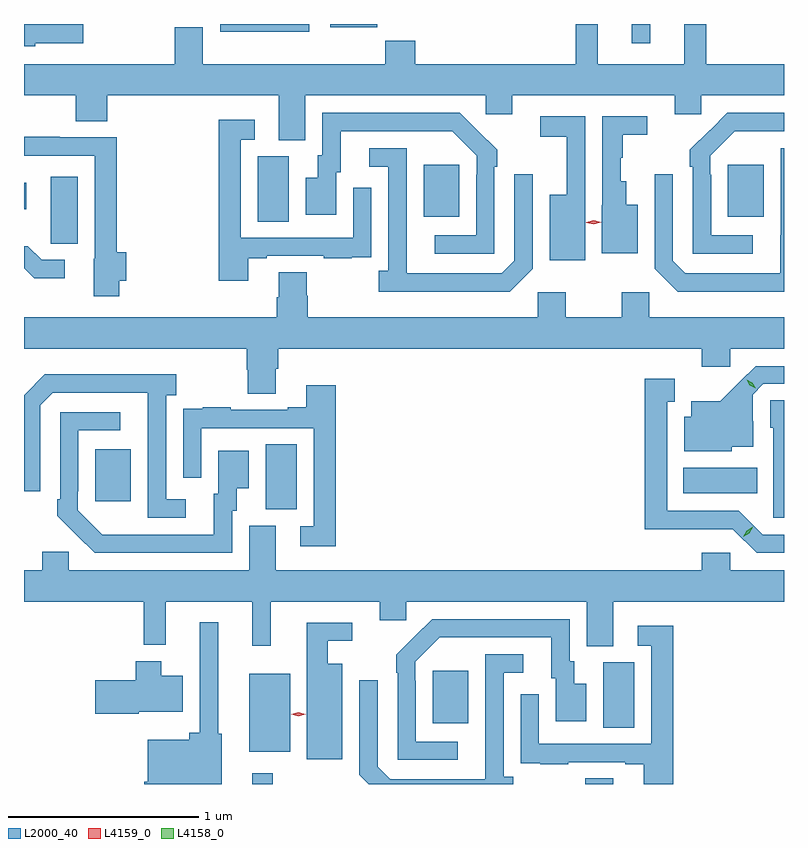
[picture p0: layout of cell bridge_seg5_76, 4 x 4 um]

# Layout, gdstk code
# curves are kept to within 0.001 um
import gdstk
lib = gdstk.Library(unit=1e-6, precision=1e-09)
def R(c, l, rs):  # rectangles x0, y0, x1, y1
    for r in rs: c.add(gdstk.rectangle(r[:2], r[2:], *l))
def P(c, l, *ps):  # polygons
    for p in ps: c.add(gdstk.Polygon(p, *l))
L2000_40 = (2000, 40)
L4158_0 = (4158, 0)
L4159_0 = (4159, 0)

bridge_seg5_76 = lib.new_cell('bridge_seg5_76')
R(bridge_seg5_76, L2000_40, [(134.21,906.416,134.32,906.472), (135.964,906.416,136.111,906.446), (134.195,906.587,134.41,906.997), (136.058,906.712,136.222,907.056), (135.161,906.737,135.349,907.012), (134.282,907.861,134.446,908.204), (133.385,907.905,133.573,908.179), (136.481,907.946,136.868,908.08), (134.24,909.376,134.404,909.72), (135.113,909.401,135.301,909.676), (136.715,909.401,136.903,909.676), (133.01,909.44,133.021,909.58), (136.208,910.314,136.305,910.416), (134.042,910.376,134.512,910.416), (134.621,910.398,134.87,910.416)])
P(bridge_seg5_76, L2000_40, [(134.491,910.04),(135.441,910.04),(135.441,909.942),(135.58,909.942),(135.58,910.04),(136.436,910.04),(136.436,909.942),(136.575,909.942),(136.575,910.04),(137.01,910.04),(137.01,910.204),(136.601,910.204),(136.601,910.416),(136.484,910.416),(136.484,910.204),(136.031,910.204),(136.031,910.416),(135.913,910.416),(135.913,910.204),(135.068,910.204),(135.068,910.328),(134.911,910.328),(134.911,910.204),(133.951,910.204),(133.951,910.399),(133.804,910.399),(133.804,910.204),(133.01,910.204),(133.01,910.04),(133.283,910.04),(133.283,909.904),(133.448,909.904),(133.448,910.04),(134.351,910.04),(134.351,909.805),(134.491,909.805)],
  [(133.068,910.316),(133.321,910.316),(133.321,910.416),(133.01,910.416),(133.01,910.298),(133.068,910.298)],
  [(136.846,909.303),(136.626,909.303),(136.626,909.623),(136.623,909.623),(136.623,909.723),(136.752,909.852),(137.01,909.852),(137.01,909.948),(136.712,909.948),(136.515,909.753),(136.515,909.665),(136.53,909.665),(136.53,909.207),(136.846,909.207)],
  [(135.486,909.665),(135.501,909.665),(135.501,909.753),(135.304,909.948),(134.58,909.948),(134.58,909.726),(134.555,909.726),(134.555,909.607),(134.492,909.607),(134.492,909.411),(134.653,909.411),(134.653,909.636),(134.677,909.636),(134.677,909.852),(135.265,909.852),(135.393,909.723),(135.393,909.623),(135.39,909.623),(135.39,909.303),(135.171,909.303),(135.171,909.207),(135.486,909.207)],
  [(135.964,909.413),(135.963,909.413),(135.963,909.93),(135.726,909.93),(135.726,909.822),(135.866,909.822),(135.866,909.517),(135.776,909.517),(135.776,909.173),(135.964,909.173)],
  [(136.24,909.466),(136.18,909.466),(136.18,909.589),(136.151,909.589),(136.151,909.711),(136.162,909.711),(136.162,909.832),(136.291,909.832),(136.291,909.93),(136.053,909.93),(136.053,909.462),(136.052,909.462),(136.052,909.209),(136.24,909.209)],
  [(134.191,909.183),(134.287,909.183),(134.287,909.195),(134.587,909.195),(134.587,909.183),(134.735,909.183),(134.735,909.189),(134.837,909.189),(134.837,909.298),(134.838,909.298),(134.838,909.553),(134.742,909.553),(134.742,909.291),(134.151,909.291),(134.151,909.807),(134.224,909.807),(134.224,909.913),(134.035,909.913),(134.035,909.066),(134.191,909.066)],
  [(133.512,909.066),(133.547,909.066),(133.547,909.215),(133.499,909.215),(133.499,909.819),(133.199,909.819),(133.199,909.822),(133.01,909.822),(133.01,909.723),(133.383,909.723),(133.383,909.18),(133.376,909.18),(133.376,908.984),(133.512,908.984)],
  [(137.01,909.762),(136.992,909.762),(136.992,909.305),(136.991,909.305),(136.991,909.105),(136.491,909.105),(136.425,909.171),(136.425,909.625),(136.329,909.625),(136.329,909.129),(136.45,909.008),(137.01,909.008)],
  [(135.687,909.129),(135.687,909.625),(135.591,909.625),(135.591,909.171),(135.525,909.105),(135.025,909.105),(135.024,909.762),(134.826,909.762),(134.826,909.666),(134.928,909.666),(134.928,909.118),(134.877,909.118),(134.877,909.008),(135.566,909.008)],
  [(133.294,909.613),(133.151,909.613),(133.151,909.37),(133.152,909.37),(133.152,909.259),(133.294,909.259)],
  [(133.225,909.174),(133.104,909.174),(133.031,909.247),(133.01,909.247),(133.01,909.13),(133.063,909.077),(133.225,909.077)],
  [(134.335,908.602),(134.348,908.602),(134.348,908.708),(136.577,908.708),(136.577,908.613),(136.728,908.613),(136.728,908.708),(137.01,908.708),(137.01,908.872),(136.302,908.872),(136.302,909.004),(136.156,909.004),(136.156,908.872),(135.861,908.872),(135.861,909.004),(135.714,909.004),(135.714,908.872),(134.504,908.872),(134.504,908.985),(134.499,908.985),(134.499,909.11),(134.351,909.11),(134.351,908.978),(134.339,908.978),(134.339,908.872),(133.01,908.872),(133.01,908.708),(134.183,908.708),(134.183,908.595),(134.188,908.595),(134.188,908.47),(134.335,908.47)],
  [(136.734,908.192),(136.849,908.192),(136.849,908.324),(136.845,908.324),(136.845,908.466),(136.902,908.523),(137.01,908.523),(137.01,908.616),(136.862,908.616),(136.675,908.431),(136.523,908.431),(136.523,908.35),(136.484,908.35),(136.484,908.168),(136.734,908.168)],
  [(133.861,907.914),(133.758,907.914),(133.758,908.462),(133.81,908.462),(133.81,908.572),(133.12,908.572),(133.01,908.462),(133.01,907.956),(133.095,907.956),(133.095,908.409),(133.161,908.475),(133.661,908.475),(133.662,907.818),(133.861,907.818)],
  [(137.01,907.728),(136.899,907.728),(136.773,907.854),(136.396,907.854),(136.396,908.427),(136.435,908.427),(136.435,908.548),(136.278,908.548),(136.278,907.757),(136.74,907.758),(136.866,907.632),(137.01,907.632)],
  [(134.651,908.515),(134.495,908.515),(134.495,908.398),(134.399,908.398),(134.399,908.385),(134.099,908.385),(134.099,908.398),(133.951,908.398),(133.951,908.391),(133.849,908.391),(133.849,908.282),(133.848,908.282),(133.848,908.028),(133.944,908.028),(133.944,908.289),(134.535,908.289),(134.535,907.773),(134.463,907.773),(134.463,907.668),(134.651,907.668)],
  [(137.01,908.435),(136.938,908.435),(136.938,908.292),(136.953,908.292),(136.953,907.818),(137.01,907.818)],
  [(134.106,907.854),(134.131,907.854),(134.131,907.973),(134.194,907.973),(134.194,908.17),(134.033,908.17),(134.033,907.944),(134.009,907.944),(134.009,907.728),(133.422,907.729),(133.293,907.857),(133.293,907.957),(133.296,907.957),(133.296,908.277),(133.516,908.277),(133.516,908.373),(133.2,908.373),(133.2,907.915),(133.185,907.915),(133.185,907.827),(133.382,907.632),(134.106,907.632)],
  [(136.111,907.376),(137.01,907.376),(137.01,907.54),(136.728,907.54),(136.728,907.633),(136.577,907.633),(136.577,907.54),(134.335,907.54),(134.335,907.776),(134.195,907.776),(134.195,907.54),(133.245,907.54),(133.245,907.638),(133.106,907.638),(133.106,907.54),(133.01,907.54),(133.01,907.376),(133.639,907.376),(133.639,907.148),(133.757,907.148),(133.757,907.376),(134.21,907.376),(134.21,907.143),(134.309,907.143),(134.309,907.376),(134.882,907.376),(134.882,907.278),(135.021,907.278),(135.021,907.376),(135.971,907.376),(135.971,907.141),(136.111,907.141)],
  [(135.292,906.639),(135.072,906.639),(135.072,906.959),(135.069,906.959),(135.069,907.059),(135.198,907.188),(135.785,907.188),(135.785,906.972),(135.809,906.972),(135.809,906.747),(135.97,906.747),(135.97,906.943),(135.907,906.943),(135.907,907.062),(135.882,907.062),(135.882,907.284),(135.158,907.284),(135.067,907.193),(135.066,907.194),(134.969,907.096),(134.969,907.001),(134.976,907.001),(134.976,906.543),(135.292,906.543)],
  [(134.05,906.681),(134.032,906.681),(134.032,907.267),(133.935,907.267),(133.935,906.685),(133.88,906.685),(133.88,906.649),(133.662,906.649),(133.662,906.427),(133.642,906.427),(133.642,906.416),(134.05,906.416)],
  [(134.686,907.048),(134.608,907.048),(134.608,907.17),(134.737,907.17),(134.737,907.266),(134.498,907.266),(134.498,906.545),(134.686,906.545)],
  [(136.427,907.249),(136.239,907.249),(136.239,907.143),(136.311,907.143),(136.311,906.627),(135.72,906.627),(135.72,906.889),(135.624,906.889),(135.624,906.634),(135.625,906.634),(135.625,906.525),(135.727,906.525),(135.727,906.519),(135.875,906.519),(135.875,906.531),(136.175,906.531),(136.175,906.519),(136.271,906.519),(136.271,906.416),(136.427,906.416)],
  [(135.586,906.454),(135.534,906.454),(135.534,907.002),(135.637,907.002),(135.637,907.098),(135.438,907.098),(135.437,906.441),(134.937,906.441),(134.871,906.507),(134.871,906.961),(134.775,906.961),(134.775,906.465),(134.824,906.416),(135.586,906.416)],
  [(133.614,906.797),(133.846,906.797),(133.846,906.985),(133.732,906.985),(133.732,907.063),(133.598,907.063),(133.598,906.963),(133.386,906.963),(133.386,906.785),(133.614,906.785)])
P(bridge_seg5_76, L4158_0, [(136.861,908.498),(136.83,908.514),(136.813,908.544),(136.813,908.544),(136.813,908.544),(136.844,908.528),(136.861,908.498),(136.861,908.498)],
  [(136.795,907.717),(136.795,907.718),(136.813,907.75),(136.845,907.769),(136.845,907.769),(136.845,907.768),(136.827,907.736),(136.795,907.717)])
P(bridge_seg5_76, L4159_0, [(136.008,909.362),(135.968,909.371),(135.968,909.371),(135.968,909.372),(136.008,909.382),(136.048,909.372),(136.048,909.372),(136.048,909.372)],
  [(134.454,906.773),(134.416,906.782),(134.416,906.783),(134.416,906.783),(134.454,906.793),(134.493,906.783),(134.493,906.783),(134.493,906.782)])

lib.write_gds('bridge_seg5_76.gds')
